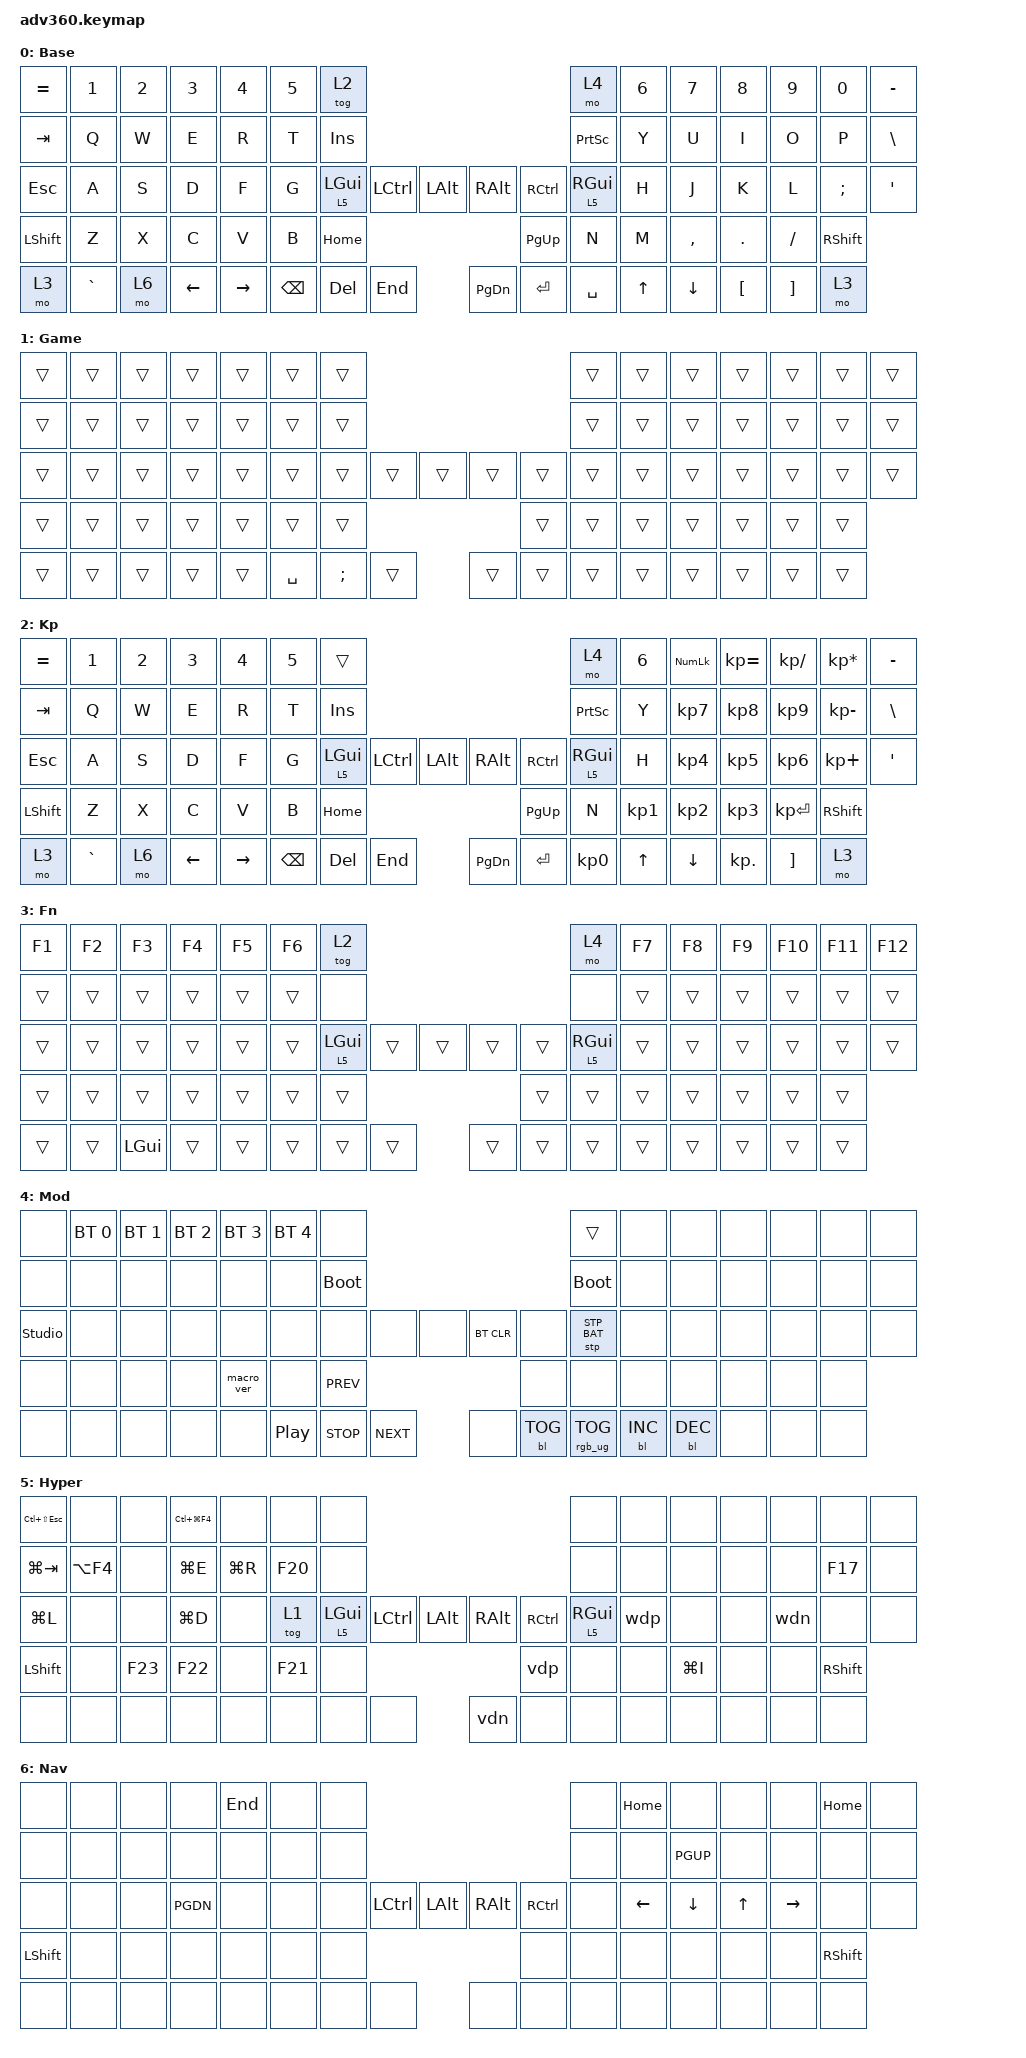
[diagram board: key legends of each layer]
#include <behaviors.dtsi>
#include <dt-bindings/zmk/keys.h>
#include <dt-bindings/zmk/bt.h>
#include <dt-bindings/zmk/rgb.h>
#include <dt-bindings/zmk/stp.h>
#include <dt-bindings/zmk/backlight.h>
#include <dt-bindings/zmk/pointing.h>

/ {
    behaviors {
      #include "macros.dtsi"
      #include "version.dtsi"

      hm: homerow_mods {
          compatible = "zmk,behavior-hold-tap";
          label = "HOMEROW_MODS";
          #binding-cells = <2>;
          tapping-term-ms = <200>;
          quick_tap_ms = <175>;
          flavor = "tap-preferred";
          bindings = <&kp>, <&kp>;
      };

      hp: hp {
          compatible = "zmk,behavior-hold-tap";
          #binding-cells = <2>;
          flavor = "hold-preferred";
          tapping-term-ms = <400>;
          quick-tap-ms = <0>;
          require-prior-idle-ms = <0>;
          bindings = <&mo>, <&kp>;
          hold-while-undecided-linger; 
          retro-tap;
      };

      vdp: vdesk_prev {
        compatible = "zmk,behavior-mod-morph";
        #binding-cells = <0>;
        bindings = <&kp LG(LC(LEFT))>, <&kp F18>;
        mods = <(MOD_LALT|MOD_RALT)>;
      };

      vdn: vdesk_next {
        compatible = "zmk,behavior-mod-morph";
        #binding-cells = <0>;
        bindings = <&kp LG(LC(RIGHT))>, <&kp F19>;
        mods = <(MOD_LALT|MOD_RALT)>;
      };

      wdp: wind_prev {
        compatible = "zmk,behavior-mod-morph";
        #binding-cells = <0>;
        bindings = <&kp LA(TAB)>, <&kp LG(LS(LEFT))>;
        mods = <(MOD_LALT|MOD_RALT)>;
      };

      wdn: wind_next {
        compatible = "zmk,behavior-mod-morph";
        #binding-cells = <0>;
        bindings = <&kp LS(LA(TAB))>, <&kp LG(LS(RIGHT))>;
        mods = <(MOD_LALT|MOD_RALT)>;
      };
    };

  keymap {
    compatible = "zmk,keymap";

    default_layer {
      display-name = "Base";
      bindings = <
        &kp EQUAL &kp N1    &kp N2   &kp N3   &kp N4     &kp N5 &tog 2                                                           &mo 4 &kp    N6 &kp N7 &kp N8    &kp N9   &kp N0   &kp MINUS
        &kp TAB   &kp Q     &kp W    &kp E    &kp R      &kp T  &kp INS                                                          &kp PSCRN    &kp Y  &kp U  &kp I     &kp O    &kp P    &kp BSLH
        &kp ESC   &kp A     &kp S    &kp D    &kp F      &kp G  &hp 5 LGUI      &kp LCTRL &kp LALT &kp RALT  &kp RCTRL           &hp 5 RGUI   &kp H  &kp J  &kp K     &kp L    &kp SEMI &kp SQT
        &kp LSHFT &kp Z     &kp X    &kp C    &kp V      &kp B                            &kp HOME &kp PG_UP                           &kp N  &kp M  &kp COMMA &kp DOT  &kp FSLH &kp RSHFT
        &mo 3     &kp GRAVE &mo 6    &kp LEFT &kp RIGHT                &kp BSPC &kp DEL   &kp END  &kp PG_DN &kp ENTER &kp SPACE              &kp UP &kp DOWN  &kp LBKT &kp RBKT &mo 3
      >;
    };
    game {
      display-name = "Game";
      bindings = <
        &trans     &trans &trans   &trans &trans &trans  &trans                                          &trans     &trans &trans &trans &trans  &trans  &trans
        &trans     &trans &trans   &trans &trans &trans  &trans                                          &trans     &trans &trans &trans &trans  &trans  &trans
        &trans     &trans &trans   &trans &trans &trans  &trans       &trans &trans &trans &trans        &trans     &trans &trans &trans &trans  &trans  &trans
        &trans     &trans &trans   &trans &trans &trans                      &trans &trans                          &trans &trans &trans &trans  &trans  &trans
        &trans     &trans &trans   &trans &trans                   &kp SPACE &kp SEMI &trans &trans &trans &trans   &trans &trans &trans  &trans  &trans
      >;
    };
    keypad {
      display-name = "Kp";
      bindings = <
        &kp EQUAL &kp N1    &kp N2   &kp N3   &kp N4     &kp N5 &trans                                                              &mo 4      &kp N6    &kp KP_NUM &kp KP_EQUAL &kp KP_DIVIDE &kp KP_MULTIPLY &kp MINUS
        &kp TAB   &kp Q     &kp W    &kp E    &kp R      &kp T  &kp INS                                                             &kp PSCRN  &kp Y     &kp KP_N7  &kp KP_N8    &kp KP_N9     &kp KP_MINUS    &kp BSLH
        &kp ESC   &kp A     &kp S    &kp D    &kp F      &kp G  &hp 5 LGUI      &kp LCTRL &kp LALT &kp RALT  &kp RCTRL              &hp 5 RGUI &kp H     &kp KP_N4  &kp KP_N5    &kp KP_N6     &kp KP_PLUS     &kp SQT
        &kp LSHFT &kp Z     &kp X    &kp C    &kp V      &kp B                            &kp HOME &kp PG_UP                        &kp N      &kp KP_N1 &kp KP_N2  &kp KP_N3    &kp KP_ENTER  &kp RSHFT
        &mo 3     &kp GRAVE &mo 6    &kp LEFT &kp RIGHT                &kp BSPC &kp DEL   &kp END  &kp PG_DN &kp ENTER &kp KP_N0               &kp UP    &kp DOWN   &kp KP_DOT   &kp RBKT      &mo 3 
      >;
    };
    fn {
      display-name = "Fn";
      bindings = <
        &kp F1 &kp F2 &kp F3   &kp F4 &kp F5 &kp F6 &tog 2                                           &mo 4      &kp F7 &kp F8 &kp F9 &kp F10 &kp F11 &kp F12
        &trans &trans &trans   &trans &trans &trans  &none                                           &none      &trans &trans &trans &trans  &trans  &trans
        &trans &trans &trans   &trans &trans &trans  &hp 5 LGUI   &trans &trans &trans &trans        &hp 5 RGUI &trans &trans &trans &trans  &trans  &trans
        &trans &trans &trans   &trans &trans &trans                      &trans &trans                          &trans &trans &trans &trans  &trans  &trans
        &trans &trans &kp LGUI &trans &trans               &trans &trans &trans &trans &trans &trans                   &trans &trans &trans  &trans  &trans
      >;
    };
    mod {
      display-name = "Mod";
      bindings = <
        &none &bt BT_SEL 0 &bt BT_SEL 1 &bt BT_SEL 2 &bt BT_SEL 3 &bt BT_SEL 4 &none                                                                                                  &trans       &none        &none        &none        &none &none &none
        &none &none        &none        &none        &none        &none        &bootloader                                                                                            &bootloader  &none        &none        &none        &none &none &none
        &studio_unlock     &none        &none        &none        &none        &none        &none                     &none       &none      &bt BT_CLR  &none                        &stp STP_BAT &none        &none        &none        &none &none &none
        &none &none        &none        &none        &macro_ver   &none                                                           &kp C_PREV &none                                    &none        &none        &none        &none &none &none
        &none &none        &none        &none        &none                                           &kp C_PLAY_PAUSE &kp C_STOP  &kp C_NEXT &none       &bl BL_TOG &rgb_ug RGB_TOG                             &bl BL_INC   &bl BL_DEC   &none &none &none
      >;
    };
    // hyper {
    //   display-name = "Hyper";
    //   bindings = <
    //     &kp LC(LS(ESC)) &none      &none      &none           &none       &none   &none                                                   &none      &none   &none   &none     &none    &none   &none
    //     &kp LG(TAB)     &kp F24    &none      &kp LG(E)       &kp LG(R)   &kp F20 &none                                                   &none      &none   &none   &none     &none    &kp F17 &none
    //     &kp LG(L)       &none      &none      &kp LG(D)       &none       &none   &hp 4 LGUI    &kp LCTRL &kp LALT &kp RALT &kp RCTRL     &hp 4 RGUI &kp F13 &kp F14 &kp F15   &kp F16  &none   &none
    //     &kp LSHFT       &none      &kp F23    &kp F22         &none       &kp F21                         &none    &kp F18                           &none   &none   &kp LG(I) &none    &none   &kp RSHFT
    //     &none           &none      &none      &none           &none                      &none  &none     &none    &kp F19  &none  &none                     &none   &none     &none    &none   &none
    //   >;
    // };
    hyper {
      display-name = "Hyper";
      bindings = <
        &kp LC(LS(ESC)) &none      &none      &kp LC(LG(F4))  &none       &none   &none                                                      &none      &none            &none        &none       &none             &none             &none
        &kp LG(TAB)     &kp LA(F4) &none      &kp LG(E)       &kp LG(R)   &kp F20 &none                                                      &none      &none            &none        &none       &none             &kp F17           &none
        &kp LG(L)       &none      &none      &kp LG(D)       &none       &tog 1  &hp 5 LGUI    &kp LCTRL &kp LALT &kp RALT    &kp RCTRL     &hp 5 RGUI &wdp             &none        &none       &wdn              &none             &none
        &kp LSHFT       &none      &kp F23    &kp F22         &none       &kp F21                         &none    &vdp                                 &none            &none        &kp LG(I)   &none             &none             &kp RSHFT
        &none           &none      &none      &none           &none                      &none  &none     &none    &vdn        &none  &none                              &none        &none       &none             &none             &none
      >;
    };
    nav {
      display-name = "Nav";
      bindings = <
        &none           &none      &none      &none           &kp END     &none   &none                                                   &none      &kp HOME &none     &none     &none     &kp HOME &none
        &none           &none      &none      &none           &none       &none   &none                                                   &none      &none    &kp PGUP  &none     &none     &none    &none
        &none           &none      &none      &kp PGDN        &none       &none   &none         &kp LCTRL &kp LALT &kp RALT &kp RCTRL     &none      &kp LEFT &kp DOWN  &kp UP    &kp RIGHT &none    &none
        &kp LSHFT       &none      &none      &none           &none       &none                           &none    &none                             &none    &none     &none     &none     &none    &kp RSHFT
        &none           &none      &none      &none           &none                      &none  &none     &none    &none    &none  &none                      &none     &none     &none     &none    &none
      >;
    };
    extra1 { 
      display-name = "Red";    
      status = "reserved";
    };

    extra2 { 
      display-name = "Purple";    
      status = "reserved";
    };

    extra3 { 
      display-name = "Cyan";    
      status = "reserved";
    };

    extra4 { 
      display-name = "Yellow";    
      status = "reserved";
    };
  };
};
